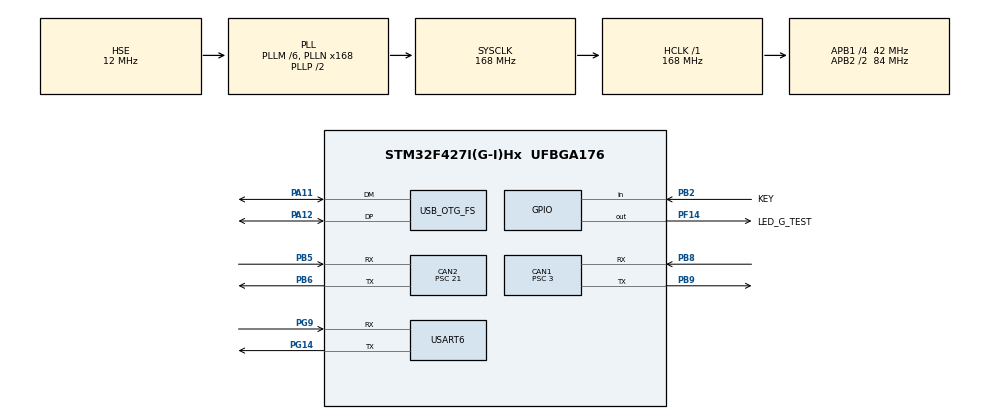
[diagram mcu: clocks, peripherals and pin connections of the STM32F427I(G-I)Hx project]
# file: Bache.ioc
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CAN1.ABOM=ENABLE
CAN1.AWUM=ENABLE
CAN1.BS1=CAN_BS1_9TQ
CAN1.BS2=CAN_BS2_4TQ
CAN1.CalculateBaudRate=1000000
CAN1.CalculateTimeBit=1000
CAN1.CalculateTimeQuantum=71.42857142857143
CAN1.Prescaler=3
CAN2.ABOM=ENABLE
CAN2.BS1=CAN_BS1_5TQ
CAN2.BS2=CAN_BS2_2TQ
CAN2.CalculateBaudRate=250000
CAN2.CalculateTimeBit=4000
CAN2.CalculateTimeQuantum=500.0
CAN2.NART=ENABLE
CAN2.Prescaler=21
Mcu.Family=STM32F4
Mcu.Name=STM32F427I(G-I)Hx
Mcu.Package=UFBGA176
NVIC.PriorityGroup=NVIC_PRIORITYGROUP_4
NVIC.USART6_IRQn=true\:0\:0\:false\:false\:true\:true\:true\:true
PA11.Mode=Device_Only
PA11.Signal=USB_OTG_FS_DM
PA12.Mode=Device_Only
PA12.Signal=USB_OTG_FS_DP
PA13.Mode=Serial_Wire
PA13.Signal=SYS_JTMS-SWDIO
PA14.Mode=Serial_Wire
PA14.Signal=SYS_JTCK-SWCLK
PB2/BOOT1.GPIO_Label=KEY
PB2/BOOT1.GPIO_PuPd=GPIO_PULLUP
PB2/BOOT1.Signal=GPIO_Input
PB5.Mode=CAN_Activate
PB5.Signal=CAN2_RX
PB6.Mode=CAN_Activate
PB6.Signal=CAN2_TX
PB8.Mode=CAN_Activate
PB8.Signal=CAN1_RX
PB9.Mode=CAN_Activate
PB9.Signal=CAN1_TX
PF14.GPIO_Label=LED_G_TEST
PF14.Signal=GPIO_Output
PG14.Mode=Asynchronous
PG14.Signal=USART6_TX
PG9.Mode=Asynchronous
PG9.Signal=USART6_RX
PH0/OSC_IN.Mode=HSE-External-Oscillator
PH0/OSC_IN.Signal=RCC_OSC_IN
PH1/OSC_OUT.Mode=HSE-External-Oscillator
PH1/OSC_OUT.Signal=RCC_OSC_OUT
ProjectManager.HeapSize=0x200
ProjectManager.StackSize=0x400
ProjectManager.TargetToolchain=MDK-ARM V5.32
RCC.48MHZClocksFreq_Value=48000000
RCC.AHBFreq_Value=168000000
RCC.APB1CLKDivider=RCC_HCLK_DIV4
RCC.APB1Freq_Value=42000000
RCC.APB1TimFreq_Value=84000000
RCC.APB2CLKDivider=RCC_HCLK_DIV2
RCC.APB2Freq_Value=84000000
RCC.APB2TimFreq_Value=168000000
RCC.CortexFreq_Value=168000000
RCC.HCLKFreq_Value=168000000
RCC.HSE_VALUE=12000000
RCC.HSI_VALUE=16000000
RCC.LSE_VALUE=32768
RCC.PLLM=6
RCC.PLLN=168
RCC.PLLQ=7
RCC.SYSCLKFreq_VALUE=168000000
RCC.SYSCLKSource=RCC_SYSCLKSOURCE_PLLCLK
RCC.VCOOutputFreq_Value=336000000
USART6.VirtualMode=VM_ASYNC
USB_OTG_FS.VirtualMode=Device_Only
board=custom

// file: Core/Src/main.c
/* USER CODE BEGIN Header */
/**
  ******************************************************************************
  * @file           : main.c
  * @brief          : Main program body
  ******************************************************************************
  * @attention
  *
  * Copyright (c) 2026 STMicroelectronics.
  * All rights reserved.
  *
  * This software is licensed under terms that can be found in the LICENSE file
  * in the root directory of this software component.
  * If no LICENSE file comes with this software, it is provided AS-IS.
  *
  ******************************************************************************
  */
/* USER CODE END Header */
#include "main.h"
#include "can.h"
#include "usb_otg.h"
#include "gpio.h"
#include "motor_ctrl.h"
#include "usart.h"

#include <stdio.h>   // 必须加：用于 sprintf
#include <string.h>  // 必须加：用于 strlen

/* USER CODE BEGIN PD */
#define CMD_TIMEOUT_MS  200  // 超时时间：200毫秒没收到数据就停车
/* USER CODE END PD */

/* USER CODE BEGIN PV */
// CAN1 接收缓冲 (用于中断和主循环共享数据)
volatile uint8_t  CAN1_Rx_Flag = 0;       // 收到数据标志位
uint32_t CAN1_Rx_ID_Buf;                  // 存 ID
uint8_t  CAN1_Rx_Data_Buf[8];             // 存数据
/* USER CODE END PV */

void SystemClock_Config(void);

/* USER CODE BEGIN 0 */
uint8_t Can_Tx_Data[8] = {0x40, 0x03, 0x01, 0x00, 0x00, 0x00, 0x00, 0x00};
uint8_t Can_Tx_Data_Motor[8] = {0};
uint32_t Rx_id;       // 用来存“是谁发的”
uint8_t Can_Rx_Data[8];  // 用来存“发了什么”
uint8_t  Rx_len;      // 用来存“发了多长”

// 定义电机最大转速 (RPM)
// 根据刚才查到的寄存器 0x0105 的值，您的控制器当前设定是 3000
#define MAX_MOTOR_RPM   3000.0f
#define WHEEL_TRACK_M    0.59f * 1.2f   // 轮距 (米)
#define WHEEL_RADIUS_M   0.12f  // 轮半径 (米)
#define GEAR_RATIO       19.0f   // 减速比
//// m/s 转换成 RPM 的系数
#define MPS_TO_RPM       ((60.0f * GEAR_RATIO) / (2.0f * 3.14159f * WHEEL_RADIUS_M))

// 接收相关变量
uint8_t pc_rx_buffer;           // 1字节临时接收缓存
uint8_t pc_rx_state = 0;        // 状态机状态
uint8_t pc_rx_count = 0;        // 数据计数
uint8_t pc_rx_data_buf[9];      // 包缓存 (Vx:4 + Az:4 + Sum:1)

uint8_t led_state = 0;

// 联合体：用于字节与浮点数互转
typedef union
{
    float value;
    uint8_t bytes[4];
} float_union_t;

// 解析后的目标速度 (全局变量，供底盘任务读取)
volatile float target_vx = 0.0f; // 线速度 m/s
volatile float target_az = 0.0f; // 角速度 rad/s
volatile uint32_t last_pc_cmd_time = 0; // 看门狗时间戳
/* USER CODE END 0 */

int main(void)
{
    /* MCU Configuration--------------------------------------------------------*/
    /* Reset of all peripherals, Initializes the Flash interface and the Systick. */
    HAL_Init();
    /* Configure the system clock */
    SystemClock_Config();
    /* Initialize all configured peripherals */
    MX_GPIO_Init();
    MX_CAN2_Init();
    MX_CAN1_Init();
    MX_USART6_UART_Init();
    //MX_USB_OTG_FS_PCD_Init();
    CAN1_Filter_Config();
    CAN2_Filter_Config();
    /* USER CODE BEGIN 2 */
    // --- 新增：开启 USART6 接收中断 ---
    // 注意：必须先在 CubeMX 里启用 USART6 并生成代码，这里才会有 huart6
    HAL_UART_Receive_IT(&huart6, &pc_rx_buffer, 1);

    // ============== 必须添加这两行 ==============
    if (HAL_CAN_Start(&hcan2) != HAL_OK)
    {
        Error_Handler(); // 如果启动失败，进入错误处理
    }

    if (HAL_CAN_Start(&hcan1) != HAL_OK)
    {
        Error_Handler(); // 如果启动失败，进入错误处理
    }

    // 【新增】开启 CAN1 的 FIFO0 消息挂起中断
    // 这告诉 HAL 库：一旦 FIFO0 有数据，就调用 HAL_CAN_RxFifo0MsgPendingCallback
    if (HAL_CAN_ActivateNotification(&hcan1, CAN_IT_RX_FIFO0_MSG_PENDING) != HAL_OK)
    {
        Error_Handler();
    }

    /* USER CODE END 2 */
    /* Infinite loop */
    /* USER CODE BEGIN WHILE */
    uint32_t query_timer = 0; // <--- 补上这一行

    while (1)
    {
        /* USER CODE END WHILE */
        // 1. 【高频执行】非阻塞接收 CAN 数据 (检查有没有人给我回信)
        // ============================================================
        // 这里的关键是：如果没收到数据，马上走，不要等！
        // 假设 CANx_ReceiveStdData 内部是非阻塞的 (即 Rx_len=0 时立即返回)
        if (CANx_ReceiveStdData(&hcan2, &Rx_id, Can_Rx_Data, &Rx_len) == 0)
        {
            // 收到数据了！检查是不是从控制器回来的 (0x580 + ID)
            if (Rx_id == (CAN_BASE_ID_RX + 0))
            {
                // 解析控制模式
                uint8_t mode_res = Motor_Parse_ControlMode(Can_Rx_Data);

                // 更新状态和 LED
                if (mode_res == 2)
                {
                    led_state = 2; // 开环 RCPWM
                    HAL_GPIO_WritePin(GPIOE, LED_R_TEST_Pin, GPIO_PIN_RESET);
                    HAL_GPIO_WritePin(GPIOF, LED_G_TEST_Pin, GPIO_PIN_SET);
									HAL_GPIO_WritePin(GPIOH, GPIO_PIN_11, GPIO_PIN_RESET);
									HAL_GPIO_WritePin(GPIOH, GPIO_PIN_12, GPIO_PIN_SET);
                }
                else if (mode_res == 3)
                {
                    led_state = 3; // 闭环 CAN
                    HAL_GPIO_WritePin(GPIOF, LED_G_TEST_Pin, GPIO_PIN_RESET);
                    HAL_GPIO_WritePin(GPIOE, LED_R_TEST_Pin, GPIO_PIN_SET);
									HAL_GPIO_WritePin(GPIOH, GPIO_PIN_12, GPIO_PIN_RESET);
									HAL_GPIO_WritePin(GPIOH, GPIO_PIN_11, GPIO_PIN_SET);
                }
            }
        }

        // ============================================================
        // 2. 【新增】CAN1 接收 (传感器/底盘等)
        // ============================================================
        if (CAN1_Rx_Flag == 1)
        {
            CAN1_Rx_Flag = 0; // 清除标志
            // 定义一个临时缓冲区用于存放打印的字符串 (64字节足够存一行)
            char uart_buf[64];

            if (CAN1_Rx_ID_Buf >= 0x01FC && CAN1_Rx_ID_Buf <= 0x01FF)
            {
                // 根据 ID 修改数据的最后一位 (复刻你之前的逻辑)
                if (CAN1_Rx_ID_Buf == 0x01FC)
                {
                    CAN1_Rx_Data_Buf[7] = 0xFC;
                }
                else if (CAN1_Rx_ID_Buf == 0x01FD)
                {
                    CAN1_Rx_Data_Buf[7] = 0xFD;
                }
                else if (CAN1_Rx_ID_Buf == 0x01FE)
                {
                    CAN1_Rx_Data_Buf[7] = 0xFE;
                }
                else if (CAN1_Rx_ID_Buf == 0x01FF)
                {
                    CAN1_Rx_Data_Buf[7] = 0xFF;
                }

                // 格式化打印字符串: "FC: 01 02 ... \r\n"
                // 技巧：rx_msg.id & 0xFF 可以取出最后两位，自动匹配 FC/FD/FE/FF
                sprintf(uart_buf, "%02X: %02X %02X %02X %02X %02X %02X %02X %02X\r\n",
                        (uint8_t)(CAN1_Rx_ID_Buf & 0xFF), // 打印 ID 的低8位作为前缀
                        CAN1_Rx_Data_Buf[0], CAN1_Rx_Data_Buf[1], CAN1_Rx_Data_Buf[2], CAN1_Rx_Data_Buf[3],
                        CAN1_Rx_Data_Buf[4], CAN1_Rx_Data_Buf[5], CAN1_Rx_Data_Buf[6], CAN1_Rx_Data_Buf[7]);
                // 通过串口 6 发送 (非中断发送即可，因为在任务里)
                HAL_UART_Transmit(&huart6, (uint8_t *)uart_buf, strlen(uart_buf), 10);
            }
        }

        // ============================================================
        // 3. 【低频执行】每隔 1000ms 发送一次查询指令
        // ============================================================
        if (HAL_GetTick() - query_timer > 1000)
        {
            query_timer = HAL_GetTick(); // 更新计时器
            // 发送查询指令 (只负责发，发完就走，不等待回复)
            Can_Tx_Data[0] = 0x40; // 读指令
            Can_Tx_Data[1] = 0x03; // 寄存器 0x0103
            Can_Tx_Data[2] = 0x01;
            // ... 其他数据保持不变 ...
            CANx_SendStdData(&hcan2, 0x600, Can_Tx_Data);
        }

        // ============================================================
        // ★★★ 新增：安全看门狗 (防止串口断开后撞车) ★★★
        // ============================================================
        // 只有在 "CAN闭环模式" (led_state == 3) 下才检查串口超时
        // 如果是按键控制或者 RCPWM 模式，就不管串口
        Mode_change_2(&led_state);

        if (led_state == 3)
        {
            // 检查：当前时间 - 上次收到命令的时间 > 200ms ?
            if ((HAL_GetTick() - last_pc_cmd_time) > CMD_TIMEOUT_MS)
            {
                // 1. 强制归零全局变量 (为了逻辑统一)
                target_vx = 0.0f;
                target_az = 0.0f;
                uint8_t Stop_Cmd[8];
                // 2. 【关键】必须手动发一包 CAN 数据让车停下来！
                // 因为平时 CAN 发送是在串口中断里触发的，
                // 现在串口没数据了，中断进不去，必须在这里补发“停车指令”。
                Stop_Cmd[0] = 0x2B;
                Stop_Cmd[1] = 0x00;
                Stop_Cmd[2] = 0x00;
                Stop_Cmd[3] = 0x00;
                Stop_Cmd[4] = 0x00; // 左轮 0%
                Stop_Cmd[5] = 0x00; // 右轮 0%
                Stop_Cmd[6] = 0x00;
                Stop_Cmd[7] = 0x00;
                // 发送给控制器
                CANx_SendStdData(&hcan2, 0x600, Stop_Cmd);
                // 可选：亮个红灯提示“失联”
                // HAL_GPIO_WritePin(GPIOE, LED_R_TEST_Pin, GPIO_PIN_RESET);
            }
        }

    }
}

void SystemClock_Config(void)
{
    RCC_OscInitTypeDef RCC_OscInitStruct = {0};
    RCC_ClkInitTypeDef RCC_ClkInitStruct = {0};
    /** Configure the main internal regulator output voltage
    */
    __HAL_RCC_PWR_CLK_ENABLE();
    __HAL_PWR_VOLTAGESCALING_CONFIG(PWR_REGULATOR_VOLTAGE_SCALE1);
    /** Initializes the RCC Oscillators according to the specified parameters
    * in the RCC_OscInitTypeDef structure.
    */
    RCC_OscInitStruct.OscillatorType = RCC_OSCILLATORTYPE_HSE;
    RCC_OscInitStruct.HSEState = RCC_HSE_ON;
    RCC_OscInitStruct.PLL.PLLState = RCC_PLL_ON;
    RCC_OscInitStruct.PLL.PLLSource = RCC_PLLSOURCE_HSE;
    RCC_OscInitStruct.PLL.PLLM = 6;
    RCC_OscInitStruct.PLL.PLLN = 168;
    RCC_OscInitStruct.PLL.PLLP = RCC_PLLP_DIV2;
    RCC_OscInitStruct.PLL.PLLQ = 7;

    if (HAL_RCC_OscConfig(&RCC_OscInitStruct) != HAL_OK)
    {
        Error_Handler();
    }

    /** Initializes the CPU, AHB and APB buses clocks
    */
    RCC_ClkInitStruct.ClockType = RCC_CLOCKTYPE_HCLK | RCC_CLOCKTYPE_SYSCLK
                                  | RCC_CLOCKTYPE_PCLK1 | RCC_CLOCKTYPE_PCLK2;
    RCC_ClkInitStruct.SYSCLKSource = RCC_SYSCLKSOURCE_PLLCLK;
    RCC_ClkInitStruct.AHBCLKDivider = RCC_SYSCLK_DIV1;
    RCC_ClkInitStruct.APB1CLKDivider = RCC_HCLK_DIV4;
    RCC_ClkInitStruct.APB2CLKDivider = RCC_HCLK_DIV2;

    if (HAL_RCC_ClockConfig(&RCC_ClkInitStruct, FLASH_LATENCY_5) != HAL_OK)
    {
        Error_Handler();
    }
}
/* USER CODE BEGIN 4 */
// 定义两个模式对应的寄存器值
// 根据手册 Page 13-14:
// 0x010A = 速度闭环(01) + CAN控制(0A)
// 0x0005 = 速度开环(00) + RC-PWM单体(05)
uint8_t Mode_change_2(uint8_t *current_state)
{
    static uint8_t key_up = 1; // 按键松开标志位 (1:松开, 0:按下)

    // 读取按键状态 (假设低电平有效，即按下为 RESET)
    if (HAL_GPIO_ReadPin(KEY_GPIO_Port, KEY_Pin) == GPIO_PIN_RESET)
    {
        HAL_Delay(20); // 简单的消抖 (20ms对于人手按下是可以接受的阻塞)

        if (HAL_GPIO_ReadPin(KEY_GPIO_Port, KEY_Pin) == GPIO_PIN_RESET)
        {
            // 只有当按键之前是“松开”状态，现在是“按下”状态时，才执行
            if (key_up == 1)
            {
                key_up = 0; // 标记为已按下，防止一直进入这里
                // === 切换逻辑开始 ===
                // 准备 CAN 数据包
                // 写入寄存器 0x0103 (控制模式和途径)
                // 格式: Cmd(0x2B) AddrL(0x03) AddrH(0x01) Sub(0x00) ValL ValH 00 00
                Can_Tx_Data_Motor[0] = 0x2B;
                Can_Tx_Data_Motor[1] = 0x03; // 0x0103 低位
                Can_Tx_Data_Motor[2] = 0x01; // 0x0103 高位
                Can_Tx_Data_Motor[3] = 0x00;

                if (*current_state == 3)
                {
                    // 当前是闭环CAN(3)，切换到 -> 开环RC(2)
                    *current_state = 2;
                    // 目标值: 0x0005 (开环 + RC-PWM)
                    Can_Tx_Data_Motor[4] = 0x05;
                    Can_Tx_Data_Motor[5] = 0x00;
                    // 切换灯光指示
                    HAL_GPIO_WritePin(GPIOE, LED_R_TEST_Pin, GPIO_PIN_RESET); // 红灯亮
                    HAL_GPIO_WritePin(GPIOF, LED_G_TEST_Pin, GPIO_PIN_SET);   // 绿灯灭
									HAL_GPIO_WritePin(GPIOH, GPIO_PIN_11, GPIO_PIN_RESET);
									HAL_GPIO_WritePin(GPIOH, GPIO_PIN_12, GPIO_PIN_SET);

                }
                else
                {
                    // 当前是其他模式，切换到 -> 闭环CAN(3)
                    *current_state = 3;
                    // 目标值: 0x010A (闭环 + CAN)
                    Can_Tx_Data_Motor[4] = 0x0A;
                    Can_Tx_Data_Motor[5] = 0x01;
                    // 切换灯光指示
                    HAL_GPIO_WritePin(GPIOF, LED_G_TEST_Pin, GPIO_PIN_RESET); // 绿灯亮
                    HAL_GPIO_WritePin(GPIOE, LED_R_TEST_Pin, GPIO_PIN_SET);   // 红灯灭

									HAL_GPIO_WritePin(GPIOH, GPIO_PIN_12, GPIO_PIN_RESET);
									HAL_GPIO_WritePin(GPIOH, GPIO_PIN_11, GPIO_PIN_SET);
                }

                Can_Tx_Data_Motor[6] = 0x00;
                Can_Tx_Data_Motor[7] = 0x00;
                // 发送 CAN 指令
                CANx_SendStdData(&hcan2, 0x600, Can_Tx_Data_Motor);
                // 注意：这里不要死等回复！
                // 因为按键按下是用户交互，先让灯变色，指令发出去即可。
                // 如果死等回复，会感觉按键“卡顿”。
                return 1; // 返回 1 表示发生了切换
            }

        }
    }
    else
    {
        key_up = 1; // 按键已松开，准备好下一次触发
    }

    return 0; // 无切换
}
// --- 新增：串口中断回调函数 ---
void HAL_UART_RxCpltCallback(UART_HandleTypeDef *huart)
{
    // 判断是否是上位机串口 (USART6)
    if (huart->Instance == USART6)
    {
        // 状态机解析协议: Head1(0xAA) Head2(0x55) Vx(4B) Az(4B) Sum(1B)
        switch (pc_rx_state)
        {
        case 0: // 找帧头 0xAA
            if (pc_rx_buffer == 0xAA)
            {
                pc_rx_state = 1;
            }
            else
            {
                pc_rx_state = 0;
            }

            break;

        case 1: // 找帧头 0x55
            if (pc_rx_buffer == 0x55)
            {
                pc_rx_state = 2;
                pc_rx_count = 0;
            }
            else
            {
                pc_rx_state = 0;
            }

            break;

        case 2: // 接收 9 字节数据
            pc_rx_data_buf[pc_rx_count++] = pc_rx_buffer;

            if (pc_rx_count >= 9)
            {
                pc_rx_state = 3;
            }

            break;

        case 3: // 校验
        {
            uint8_t checksum = 0;

            for (int i = 0; i < 8; i++)
            {
                checksum += pc_rx_data_buf[i];
            }

            if (checksum == pc_rx_data_buf[8])
            {
                float_union_t v_union, w_union;
                // 提取 Vx
                v_union.bytes[0] = pc_rx_data_buf[0];
                v_union.bytes[1] = pc_rx_data_buf[1];
                v_union.bytes[2] = pc_rx_data_buf[2];
                v_union.bytes[3] = pc_rx_data_buf[3];
                // 提取 Az
                w_union.bytes[0] = pc_rx_data_buf[4];
                w_union.bytes[1] = pc_rx_data_buf[5];
                w_union.bytes[2] = pc_rx_data_buf[6];
                w_union.bytes[3] = pc_rx_data_buf[7];
                // 【核心修改】：只更新全局变量，不要在这里计算PID或发送CAN
                target_vx = v_union.value;
                target_az = w_union.value;
                //char tx_buf1[64];
                // %.2f 表示保留2位小数
                // sprintf 会把数值转换成 ASCII 码填入 tx_buf
                //sprintf(tx_buf1, "Vx: %.2f, Az: %.2f\r\n", target_vx, target_az);
                // 发送 tx_buf 的内容
                // strlen(tx_buf) 会自动计算字符串长度
                // HAL_UART_Transmit(&huart6, (uint8_t *)tx_buf1, strlen(tx_buf1), 20);
                // ========================================================
                // 1. 【第一步】先把 RPM 算出来 (必须放在 sprintf 之前！)
                // ========================================================
                // 确保您在 main.h 或开头定义了 WHEEL_TRACK_M (轮距) 和 MPS_TO_RPM (转换系数)
                float target_rpm_l = (target_vx - target_az * WHEEL_TRACK_M / 2.0f) * MPS_TO_RPM;
                float target_rpm_r = (target_vx + target_az * WHEEL_TRACK_M / 2.0f) * MPS_TO_RPM;
                // ========================================================
                // 2. 【第二步】修改 sprintf 内容，打印 RPM
                // ========================================================
                char tx_buf2[64];
                // 修改这里：把格式改成打印 RPM_L 和 RPM_R
                sprintf(tx_buf2, "RPM_L: %.2f, RPM_R: %.2f\r\n", target_rpm_l, target_rpm_r);
                // 发送数据
                HAL_UART_Transmit(&huart6, (uint8_t *)tx_buf2, strlen(tx_buf2), 20);
                // 更新看门狗时间戳
                // ========================================================
                // 3. 【新增】计算百分比并转换为 int8_t (即控制器的 Hex 格式)
                // ========================================================
                // 3.1 计算相对于最大转速的百分比 (结果范围可能是 -200.0 到 +200.0)
                float percent_l = (target_rpm_l / MAX_MOTOR_RPM) * 100.0f;
                float percent_r = (target_rpm_r / MAX_MOTOR_RPM) * 100.0f;

                // 3.2 限幅保护 (非常重要！)
                // 因为 int8_t 只能存 -128 到 +127。
                // 如果计算出 150%，强转会溢出变成负数，导致电机乱转。必须限制在 -100 到 +100 之间。
                if (percent_l > 100.0f)
                {
                    percent_l = 100.0f;
                }

                if (percent_l < -100.0f)
                {
                    percent_l = -100.0f;
                }

                if (percent_r > 100.0f)
                {
                    percent_r = 100.0f;
                }

                if (percent_r < -100.0f)
                {
                    percent_r = -100.0f;
                }

                // 3.3 强制转换为 int8_t (这就已经是您要的 Hex 数据了)
                // 例如：50.0 -> 50 (0x32), -50.0 -> -50 (0xCE)
                int8_t out_cmd_l = (int8_t)percent_l;
                int8_t out_cmd_r = (int8_t)percent_r;
                // ========================================================
                // 【新增】串口打印十六进制调试信息
                // ========================================================
                //char hex_debug_buf[64]; // 定义一个临时缓冲区
                // 格式化说明：
                // %d   -> 打印十进制 (方便看是正转还是反转，比如 -50)
                // 0x   -> 只是个前缀字符串，没特殊含义
                // %02X -> 打印两位十六进制 (比如 CE)。如果不加 (uint8_t) 强转，-50 会变成 FFFFFFCE
                //                sprintf(hex_debug_buf, "Hex: L=0x%02X (%d%%), R=0x%02X (%d%%)\r\n",
                //                        (uint8_t)out_cmd_l, out_cmd_l,
                //                        (uint8_t)out_cmd_r, out_cmd_r);
                // 发送出去
                //HAL_UART_Transmit(&huart6, (uint8_t *)hex_debug_buf, strlen(hex_debug_buf), 20);
                Can_Tx_Data_Motor[0] = 0x2B;
                Can_Tx_Data_Motor[1] = 0x00;
                Can_Tx_Data_Motor[2] = 0x00;
                Can_Tx_Data_Motor[3] = 0x00;
                Can_Tx_Data_Motor[4] = (uint8_t)out_cmd_l;
                Can_Tx_Data_Motor[5] = (uint8_t)out_cmd_r;
                Can_Tx_Data_Motor[6] = 0x00;
                Can_Tx_Data_Motor[7] = 0x00;
                // 然后调用发送函数
                CANx_SendStdData(&hcan2, 0x600, Can_Tx_Data_Motor);
                last_pc_cmd_time = HAL_GetTick();
            }

            pc_rx_state = 0;
        }
        break;

        default:
            pc_rx_state = 0;
            break;
        }

        HAL_UART_Receive_IT(&huart6, &pc_rx_buffer, 1);
    }
}
/* USER CODE BEGIN 4 */
// CAN 接收回调函数 (当 FIFO0 有数据时自动被调用)
void HAL_CAN_RxFifo0MsgPendingCallback(CAN_HandleTypeDef *hcan)
{
    CAN_RxHeaderTypeDef RxHeader;
    uint8_t RxData[8];

    // 判断是哪个 CAN 进来的 (CAN1)
    if (hcan->Instance == CAN1)
    {
        // 从 FIFO0 读取数据
        if (HAL_CAN_GetRxMessage(hcan, CAN_RX_FIFO0, &RxHeader, RxData) == HAL_OK)
        {
            // 把数据搬运到全局变量，让主循环去处理
            // 这样中断处理非常快，几微秒就结束了
            CAN1_Rx_ID_Buf = RxHeader.StdId;
            memcpy(CAN1_Rx_Data_Buf, RxData, 8); // 需包含 string.h
            CAN1_Rx_Flag = 1; // 告诉主循环：有新货到了！
        }
    }

    // 如果您想把 CAN2 也改成中断，可以在这里加 else if (hcan->Instance == CAN2) ...
}
/* USER CODE END 4 */
/* USER CODE END 4 */
void Error_Handler(void)
{
    __disable_irq();
    while (1)
    {
    }
}
